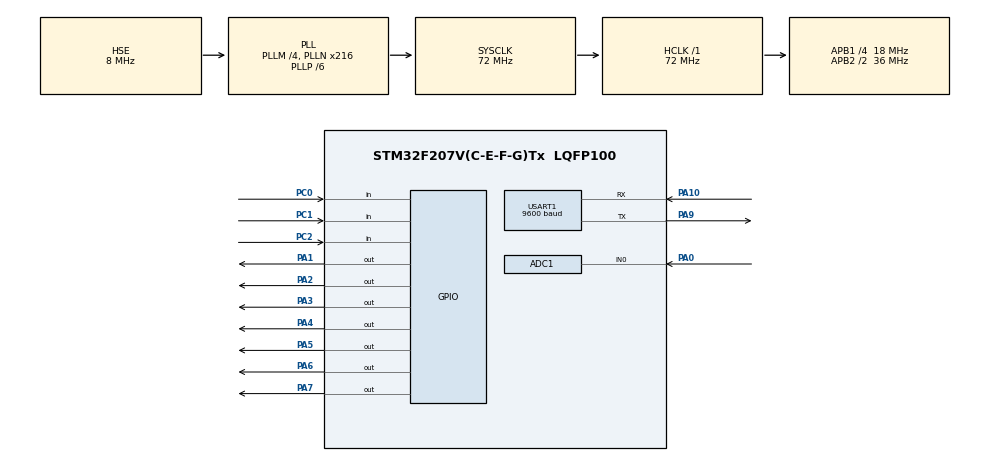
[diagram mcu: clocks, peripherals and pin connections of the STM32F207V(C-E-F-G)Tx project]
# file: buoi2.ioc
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ADC1.Channel-1\#ChannelRegularConversion=ADC_CHANNEL_0
ADC1.Channel-2\#ChannelInjectedConversion=ADC_CHANNEL_0
ADC1.ContinuousConvMode=ENABLE
ADC1.DMAContinuousRequests=ENABLE
ADC1.EnableAnalogWatchDog=false
ADC1.InjNumberOfConversion=1
ADC1.InjectedOffset-2\#ChannelInjectedConversion=0
ADC1.InjectedRank-2\#ChannelInjectedConversion=1
ADC1.NbrOfConversion=1
ADC1.NbrOfConversionFlag=1
ADC1.Rank-1\#ChannelRegularConversion=1
ADC1.SamplingTime-1\#ChannelRegularConversion=ADC_SAMPLETIME_3CYCLES
ADC1.SamplingTime-2\#ChannelInjectedConversion=ADC_SAMPLETIME_3CYCLES
ADC1.ScanConvMode=ENABLE
ADC1.master=1
Dma.ADC1.0.Direction=DMA_PERIPH_TO_MEMORY
Dma.ADC1.0.FIFOMode=DMA_FIFOMODE_DISABLE
Dma.ADC1.0.Instance=DMA2_Stream0
Dma.ADC1.0.MemDataAlignment=DMA_MDATAALIGN_HALFWORD
Dma.ADC1.0.MemInc=DMA_MINC_ENABLE
Dma.ADC1.0.Mode=DMA_CIRCULAR
Dma.ADC1.0.PeriphDataAlignment=DMA_PDATAALIGN_HALFWORD
Dma.ADC1.0.PeriphInc=DMA_PINC_DISABLE
Dma.ADC1.0.Priority=DMA_PRIORITY_LOW
Dma.Request0=ADC1
Mcu.Family=STM32F2
Mcu.Name=STM32F207V(C-E-F-G)Tx
Mcu.Package=LQFP100
NVIC.PriorityGroup=NVIC_PRIORITYGROUP_4
NVIC.TIM4_IRQn=true\:2\:0\:true\:false\:true\:true\:true
NVIC.USART1_IRQn=true\:1\:0\:true\:false\:true\:true\:true
PA0-WKUP.Signal=ADCx_IN0
PA1.Signal=GPIO_Output
PA10.Mode=Asynchronous
PA10.Signal=USART1_RX
PA13.Mode=Serial_Wire
PA13.Signal=SYS_JTMS-SWDIO
PA14.Mode=Serial_Wire
PA14.Signal=SYS_JTCK-SWCLK
PA2.Signal=GPIO_Output
PA3.Signal=GPIO_Output
PA4.Signal=GPIO_Output
PA5.Signal=GPIO_Output
PA6.Signal=GPIO_Output
PA7.Signal=GPIO_Output
PA9.Mode=Asynchronous
PA9.Signal=USART1_TX
PC0.Signal=GPIO_Input
PC1.Signal=GPIO_Input
PC2.Signal=GPIO_Input
PH0-OSC_IN.Mode=HSE-External-Oscillator
PH0-OSC_IN.Signal=RCC_OSC_IN
PH1-OSC_OUT.Mode=HSE-External-Oscillator
PH1-OSC_OUT.Signal=RCC_OSC_OUT
ProjectManager.HeapSize=0x200
ProjectManager.StackSize=0x400
ProjectManager.TargetToolchain=MDK-ARM V5
RCC.48MHZClocksFreq_Value=108000000
RCC.AHBFreq_Value=72000000
RCC.APB1CLKDivider=RCC_HCLK_DIV4
RCC.APB1Freq_Value=18000000
RCC.APB1TimFreq_Value=36000000
RCC.APB2CLKDivider=RCC_HCLK_DIV2
RCC.APB2Freq_Value=36000000
RCC.APB2TimFreq_Value=72000000
RCC.CortexFreq_Value=72000000
RCC.HCLKFreq_Value=72000000
RCC.HSE_VALUE=8000000
RCC.HSI_VALUE=16000000
RCC.LSE_VALUE=32768
RCC.PLLM=4
RCC.PLLN=216
RCC.PLLP=RCC_PLLP_DIV6
RCC.PLLSourceVirtual=RCC_PLLSOURCE_HSE
RCC.SYSCLKFreq_VALUE=72000000
RCC.SYSCLKSource=RCC_SYSCLKSOURCE_PLLCLK
RCC.VCOOutputFreq_Value=432000000
SH.ADCx_IN0.0=ADC1_IN0,IN0
TIM4.Prescaler=0
TIM4.TIM_MasterOutputTrigger=TIM_TRGO_UPDATE
USART1.BaudRate=9600
USART1.VirtualMode=VM_ASYNC
VP_TIM3_VS_ClockSourceINT.Mode=Internal
VP_TIM4_VS_ClockSourceINT.Mode=Internal
board=custom

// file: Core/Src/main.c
/* USER CODE BEGIN Header */
/**
  ******************************************************************************
  * @file           : main.c
  * @brief          : Main program body
  ******************************************************************************
  * @attention
  *
  * <h2><center>&copy; Copyright (c) 2022 STMicroelectronics.
  * All rights reserved.</center></h2>
  *
  * This software component is licensed by ST under BSD 3-Clause license,
  * the "License"; You may not use this file except in compliance with the
  * License. You may obtain a copy of the License at:
  *                        opensource.org/licenses/BSD-3-Clause
  *
  ******************************************************************************
  */

/* Private includes ----------------------------------------------------------*/
/* USER CODE BEGIN Includes */
/* USER CODE END Header */
#include "main.h"
#include "adc.h"
#include "dma.h"
#include "tim.h"
#include "usart.h"
#include "gpio.h"
#include "ADCnew.h"
#include "kalman1.h"
#include "stdio.h"
#include "string.h"
/* USER CODE BEGIN Includes */
/* USER CODE END Header */
/* USER CODE END Header */
/* Includes ------------------------------------------------------------------*/

/* Private includes ----------------------------------------------------------*/

/* USER CODE END Includes */

/* USER CODE BEGIN PD */
	 uint32_t ADC_value;
	 uint32_t AD;
	extern float power;
	extern int count;
	extern int VT;
	char null;
	volatile uint8_t nhan[12];
	volatile uint8_t thu;
	char mang[]="hello ESP";
	uint8_t i=0;
	extern int create_delay;
 	int	interrupt_uart=0;
	int regime=0;
	uint8_t rv_uart[10][20];
	uint8_t rv_num =0;
	char *pch;

//	void test_pump();
//	void data_esp ();
//	void test_led();
//	void pump ();
//	void compare();
//	void energy();
//	void evenPunch ();
//	void uart_handle();
/* USER CODE END PD */

void SystemClock_Config(void);

/* USER CODE BEGIN 0 */

/* ********************************ngat UART**************************************************/
void HAL_UART_RxCpltCallback(UART_HandleTypeDef *huart)
{
	UNUSED(huart);
	if(huart -> Instance == USART1)
	{
		if(thu!=10)
		{
			nhan[i++]=thu;
		}
		else if(thu==10)
		{
			nhan[i++]='\0';
			HAL_UART_Transmit(&huart1, (uint8_t *)&nhan ,sizeof(nhan),10);
			interrupt_uart=1;
			i=0;
			//for(int cnt=0;cnt<sizeof(nhan);cnt++) nhan[cnt]=null;
		}
	}
	HAL_UART_Receive_IT(&huart1,(uint8_t*)&thu,1);
}
void uart_handle(){
	if(interrupt_uart == 1){
		pch = strtok((char *)nhan," ");
		while(pch != NULL){
			strcpy((char *) rv_uart[rv_num++],pch);
			pch = strtok(NULL," ");
		}
		interrupt_uart=0;
		if(strcmp((char *)rv_uart[1],"1")==0)
		{
			regime =1;
		}
		else if(strcmp((char *)rv_uart[1],"2")==0)
		{
			regime =2;
		}
		else if(strcmp((char *)rv_uart[1],"3")==0)
		{
			regime =3;
		}
	}
}

/* USER CODE END 0 */

int main(void)
{

  /* MCU Configuration--------------------------------------------------------*/

  /* Reset of all peripherals, Initializes the Flash interface and the Systick. */
  HAL_Init();

  /* Configure the system clock */
  SystemClock_Config();

  /* Initialize all configured peripherals */
  MX_GPIO_Init();
  MX_DMA_Init();
  MX_ADC1_Init();
  MX_TIM4_Init();
  MX_USART1_UART_Init();
  MX_TIM3_Init();
  /* USER CODE BEGIN 2 */

		/* ********************************doc gia tri ADC**************************************************/
	SimpleKalmanFilter1(2,2,0.001f);
	HAL_ADC_Start_DMA(&hadc1,(uint32_t*)&AD,1);
	HAL_UART_Transmit(&huart1,(uint8_t*) mang ,sizeof(mang),10);
	HAL_UART_Receive_IT (&huart1,(uint8_t*)&thu,1);
	HAL_TIM_Base_Start(&htim3);
  /* USER CODE END 2 */

  /* Infinite loop */
  while (1)
  {

    /* USER CODE BEGIN 3 */
			uart_handle();
			ADC_value=updateEstimate1(AD);
			data_esp();
			//pump();
		switch(regime)
		{
				case 1:
							compare();
				break;
				case 2: test_led();
				break;
				case 3:	test_pump();
				break;
		}
	}
}
  /* USER CODE END 3 */
void SystemClock_Config(void)
{
  RCC_OscInitTypeDef RCC_OscInitStruct = {0};
  RCC_ClkInitTypeDef RCC_ClkInitStruct = {0};

  /** Initializes the RCC Oscillators according to the specified parameters
  * in the RCC_OscInitTypeDef structure.
  */
  RCC_OscInitStruct.OscillatorType = RCC_OSCILLATORTYPE_HSE;
  RCC_OscInitStruct.HSEState = RCC_HSE_ON;
  RCC_OscInitStruct.PLL.PLLState = RCC_PLL_ON;
  RCC_OscInitStruct.PLL.PLLSource = RCC_PLLSOURCE_HSE;
  RCC_OscInitStruct.PLL.PLLM = 4;
  RCC_OscInitStruct.PLL.PLLN = 216;
  RCC_OscInitStruct.PLL.PLLP = RCC_PLLP_DIV6;
  RCC_OscInitStruct.PLL.PLLQ = 4;
  if (HAL_RCC_OscConfig(&RCC_OscInitStruct) != HAL_OK)
  {
    Error_Handler();
  }
  /** Initializes the CPU, AHB and APB buses clocks
  */
  RCC_ClkInitStruct.ClockType = RCC_CLOCKTYPE_HCLK|RCC_CLOCKTYPE_SYSCLK
                              |RCC_CLOCKTYPE_PCLK1|RCC_CLOCKTYPE_PCLK2;
  RCC_ClkInitStruct.SYSCLKSource = RCC_SYSCLKSOURCE_PLLCLK;
  RCC_ClkInitStruct.AHBCLKDivider = RCC_SYSCLK_DIV1;
  RCC_ClkInitStruct.APB1CLKDivider = RCC_HCLK_DIV4;
  RCC_ClkInitStruct.APB2CLKDivider = RCC_HCLK_DIV2;

  if (HAL_RCC_ClockConfig(&RCC_ClkInitStruct, FLASH_LATENCY_2) != HAL_OK)
  {
    Error_Handler();
  }
}

void Error_Handler(void)
{
  __disable_irq();
  while (1)
  {
  }
}

/************************ (C) COPYRIGHT STMicroelectronics *****END OF FILE****/
